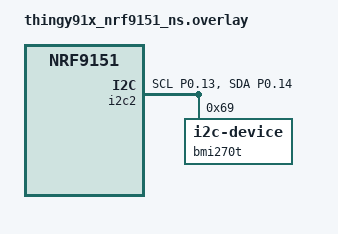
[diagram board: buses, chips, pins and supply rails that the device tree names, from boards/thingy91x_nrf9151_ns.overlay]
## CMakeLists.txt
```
#
# Copyright (c) 2016 Intel Corporation
#
# SPDX-License-Identifier: Apache-2.0
#

cmake_minimum_required(VERSION 3.20.0)
find_package(Zephyr REQUIRED HINTS $ENV{ZEPHYR_BASE})
project(nrf_connect_sdk_fundamentals)

target_sources(app PRIVATE src/main.c src/bmi2.c src/bmi270.c src/bmi270_context.c src/common.c)
```

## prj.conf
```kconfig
#
# Copyright (c) 2016 Intel Corporation
#
# SPDX-License-Identifier: Apache-2.0
#

CONFIG_I2C=y
CONFIG_CBPRINTF_FP_SUPPORT=y
```

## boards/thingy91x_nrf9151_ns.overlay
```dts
&i2c2 {
    status = "okay";
    pinctrl-0 = <&i2c2_default>;
	pinctrl-1 = <&i2c2_sleep>;
    pinctrl-names = "default", "sleep";
    bmi270t: bmi270t@69{
        compatible = "i2c-device";
        status = "okay";
        reg = < 0x69 >;
    };
};

&pinctrl {
	/omit-if-no-ref/ i2c2_default: i2c2_default {
		group1  {
			psels = <NRF_PSEL(TWIM_SCL, 0, 13)>,
					<NRF_PSEL(TWIM_SDA, 0, 14)>;
		};
	};

	/omit-if-no-ref/ i2c2_sleep: i2c2_sleep {
		group1  {
			psels = <NRF_PSEL(TWIM_SCL, 0, 13)>,
					<NRF_PSEL(TWIM_SDA, 0, 14)>;
			low-power-enable;
		};
	};
};
```

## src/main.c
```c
/**\
 * Copyright (c) 2023 Bosch Sensortec GmbH. All rights reserved.
 *
 * SPDX-License-Identifier: BSD-3-Clause
 **/

/******************************************************************************/
/*!                 Header Files                                              */
#include <stdio.h>
#include "bmi270.h"
#include "common.h"

/******************************************************************************/
/*!         Static function declaration                                       */

/*!
 *  @brief This internal API is used to set configurations for step counter.
 *
 *  @param[in] bmi2_dev       : Structure instance of bmi2_dev.
 *
 *  @return Status of execution.
 */
static int8_t set_feature_config(struct bmi2_dev *bmi2_dev);

/******************************************************************************/
/*!            Functions                                        */

/* This function starts the execution of program. */
int main(void)
{
	/* Sensor initialization configuration. */
	struct bmi2_dev bmi2_dev;

	/* Structure to define type of sensor and their respective data. */
	struct bmi2_feat_sensor_data sensor_data = {0};

	/* Status of api are returned to this variable. */
	int8_t rslt;

	/* Accel sensor and step counter feature are listed in array. */
	uint8_t sensor_sel[2] = {BMI2_ACCEL, BMI2_STEP_COUNTER};

	/* Variable to get step counter interrupt status. */
	uint16_t int_status = 0;

	/* Select features and their pins to be mapped to. */
	struct bmi2_sens_int_config sens_int = {.type = BMI2_STEP_COUNTER, .hw_int_pin = BMI2_INT2};

	/* Type of sensor to get step counter data. */
	sensor_data.type = BMI2_STEP_COUNTER;

	/* Interface reference is given as a parameter
	 * For I2C : BMI2_I2C_INTF
	 * For SPI : BMI2_SPI_INTF
	 */
	bmi2_interface_init(&bmi2_dev, BMI2_I2C_INTF);

	/* Initialize bmi270. */
	rslt = bmi270_init(&bmi2_dev);
	bmi2_error_codes_print_result(rslt);
	printf("ERROR!\n");
	if (rslt == BMI2_OK)
	{
		/* Enable the selected sensor. */
		rslt = bmi270_sensor_enable(sensor_sel, 2, &bmi2_dev);
		bmi2_error_codes_print_result(rslt);

		if (rslt == BMI2_OK)
		{
			/* Set the feature configuration for step counter. */
			rslt = set_feature_config(&bmi2_dev);
			bmi2_error_codes_print_result(rslt);

			printf("Step counter watermark level set to 1 (20 steps)\n");

			if (rslt == BMI2_OK)
			{
				/* Map the step counter feature interrupt. */
				rslt = bmi270_map_feat_int(&sens_int, 1, &bmi2_dev);
				bmi2_error_codes_print_result(rslt);

				/* Move the board in steps for 20 times to get step counter interrupt. */
				printf("Move the board in steps\n");

				/* Loop to get number of steps counted. */
				do
				{
					/* To get the interrupt status of the step counter. */
					rslt = bmi2_get_int_status(&int_status, &bmi2_dev);
					bmi2_error_codes_print_result(rslt);

					/* To check the interrupt status of the step counter. */
					if (int_status & BMI270_STEP_CNT_STATUS_MASK)
					{
						printf("Step counter interrupt occurred when watermark level (20 steps) is reached\n");

						/* Get step counter output. */
						rslt = bmi270_get_feature_data(&sensor_data, 1, &bmi2_dev);
						bmi2_error_codes_print_result(rslt);

						/* Print the step counter output. */
						printf("No of steps counted  = %lu",
							   (long unsigned int)sensor_data.sens_data.step_counter_output);

						break;
					}
				} while (rslt == BMI2_OK);
			}
		}
	}

	return rslt;
}

/*!
 * @brief This internal API is used to set configurations for step counter.
 */
static int8_t set_feature_config(struct bmi2_dev *bmi2_dev)
{
	/* Status of api are returned to this variable. */
	int8_t rslt;

	/* Structure to define the type of sensor and its configurations. */
	struct bmi2_sens_config config;

	/* Configure the type of sensor. */
	config.type = BMI2_STEP_COUNTER;

	/* Get default configurations for the type of feature selected. */
	rslt = bmi270_get_sensor_config(&config, 1, bmi2_dev);
	bmi2_error_codes_print_result(rslt);

	if (rslt == BMI2_OK)
	{
		/* Setting water-mark level to 1 for step counter to get interrupt after 20 step counts. Every 20 steps once
		 * output triggers. */
		config.cfg.step_counter.watermark_level = 1;

		/* Set new configuration. */
		rslt = bmi270_set_sensor_config(&config, 1, bmi2_dev);
		bmi2_error_codes_print_result(rslt);
	}

	return rslt;
}
```

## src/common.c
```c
/*---------------------------------------------*/
#include <math.h>
#include <stdio.h>
#include <zephyr/drivers/i2c.h>

#include "common.h"
#include "bmi270.h"
#include "bmi2_defs.h"


#define I2C_NODE DT_NODELABEL(bmi270t)

static uint8_t dev_addr;


static void bmi3_delay_us(uint32_t period, void *intf_ptr)
{
	(void)intf_ptr;
	k_sleep(K_MSEC(10));
}

/* nrf i2c initial */
static const struct i2c_dt_spec dev_i2c = I2C_DT_SPEC_GET(I2C_NODE);

static int8_t nrf_i2c_init(void)
{
	if (!device_is_ready(dev_i2c.bus)) {
        printk("I2C bus %s is not ready!\n\r",dev_i2c.bus->name);
        return -1;
    }
	/* I2C is used by default */
	return 0;
}
static int8_t nrf_i2c_read_cmd(uint8_t reg_addr, uint8_t *rev_data, uint32_t length, void *intf_ptr)
{
	return i2c_burst_read_dt(&dev_i2c, reg_addr, rev_data, length);
}
static int8_t nrf_i2c_write_cmd(uint8_t reg_addr, uint8_t const *send_data, uint32_t length, void *intf_ptr)
{
	return i2c_burst_write_dt(&dev_i2c, reg_addr, send_data, length);
}


void bmi2_interface_init(struct bmi2_dev *dev, int8_t intf)
{
	int8_t rslt = BMI2_OK; /* Status of API are returned to this variable. */

	if (dev != NULL)
	{
		if (intf == BMI2_I2C_INTF) /* Bus configuration : I2C */
		{
			nrf_i2c_init();
			printf("I2C Interface\n");
			dev_addr = BMI2_I2C_PRIM_ADDR;
			dev->read = nrf_i2c_read_cmd;
			dev->write = nrf_i2c_write_cmd;
			dev->intf = BMI2_I2C_INTF;
		}
		else if (intf == BMI2_SPI_INTF) /* Bus configuration : SPI */
		{
			// TODO...
			printf("SPI Interface initial.\n");
		}
		dev->delay_us = bmi3_delay_us;		  /* Configure delay in microseconds */
		dev->intf_ptr = &dev_addr;			  /* Assign device address to interface pointer */
		dev->read_write_len = READ_WRITE_LEN; /* Configure max read/write length (in bytes) ( Supported length depends on target machine) */
	}
	else
	{
		rslt = BMI2_E_NULL_PTR;
	}
	bmi2_error_codes_print_result(rslt);

	k_sleep(K_MSEC(200)); /* After sensor init introduce 200 msec sleep */
}



void bmi2_error_codes_print_result(int8_t rslt)
{
	switch (rslt)
    {
        case BMI2_OK:

            /* Do nothing */
            break;

        case BMI2_W_FIFO_EMPTY:
            printf("Warning [%d] : FIFO empty\r\n", rslt);
            break;
        case BMI2_W_PARTIAL_READ:
            printf("Warning [%d] : FIFO partial read\r\n", rslt);
            break;
        case BMI2_E_NULL_PTR:
            printf(
                "Error [%d] : Null pointer error. It occurs when the user tries to assign value (not address) to a pointer," " which has been initialized to NULL.\r\n",
                rslt);
            break;

        case BMI2_E_COM_FAIL:
            printf(
                "Error [%d] : Communication failure error. It occurs due to read/write operation failure and also due " "to power failure during communication\r\n",
                rslt);
            break;

        case BMI2_E_DEV_NOT_FOUND:
            printf("Error [%d] : Device not found error. It occurs when the device chip id is incorrectly read\r\n",
                   rslt);
            break;

        case BMI2_E_INVALID_SENSOR:
            printf(
                "Error [%d] : Invalid sensor error. It occurs when there is a mismatch in the requested feature with the " "available one\r\n",
                rslt);
            break;

        case BMI2_E_SELF_TEST_FAIL:
            printf(
                "Error [%d] : Self-test failed error. It occurs when the validation of accel self-test data is " "not satisfied\r\n",
                rslt);
            break;

        case BMI2_E_INVALID_INT_PIN:
            printf(
                "Error [%d] : Invalid interrupt pin error. It occurs when the user tries to configure interrupt pins " "apart from INT1 and INT2\r\n",
                rslt);
            break;

        case BMI2_E_OUT_OF_RANGE:
            printf(
                "Error [%d] : Out of range error. It occurs when the data exceeds from filtered or unfiltered data from " "fifo and also when the range exceeds the maximum range for accel and gyro while performing FOC\r\n",
                rslt);
            break;

        case BMI2_E_ACC_INVALID_CFG:
            printf(
                "Error [%d] : Invalid Accel configuration error. It occurs when there is an error in accel configuration" " register which could be one among range, BW or filter performance in reg address 0x40\r\n",
                rslt);
            break;

        case BMI2_E_GYRO_INVALID_CFG:
            printf(
                "Error [%d] : Invalid Gyro configuration error. It occurs when there is a error in gyro configuration" "register which could be one among range, BW or filter performance in reg address 0x42\r\n",
                rslt);
            break;

        case BMI2_E_ACC_GYR_INVALID_CFG:
            printf(
                "Error [%d] : Invalid Accel-Gyro configuration error. It occurs when there is a error in accel and gyro" " configuration registers which could be one among range, BW or filter performance in reg address 0x40 " "and 0x42\r\n",
                rslt);
            break;

        case BMI2_E_CONFIG_LOAD:
            printf(
                "Error [%d] : Configuration load error. It occurs when failure observed while loading the configuration " "into the sensor\r\n",
                rslt);
            break;

        case BMI2_E_INVALID_PAGE:
            printf(
                "Error [%d] : Invalid page error. It occurs due to failure in writing the correct feature configuration " "from selected page\r\n",
                rslt);
            break;

        case BMI2_E_SET_APS_FAIL:
            printf(
                "Error [%d] : APS failure error. It occurs due to failure in write of advance power mode configuration " "register\r\n",
                rslt);
            break;

        case BMI2_E_AUX_INVALID_CFG:
            printf(
                "Error [%d] : Invalid AUX configuration error. It occurs when the auxiliary interface settings are not " "enabled properly\r\n",
                rslt);
            break;

        case BMI2_E_AUX_BUSY:
            printf(
                "Error [%d] : AUX busy error. It occurs when the auxiliary interface buses are engaged while configuring" " the AUX\r\n",
                rslt);
            break;

        case BMI2_E_REMAP_ERROR:
            printf(
                "Error [%d] : Remap error. It occurs due to failure in assigning the remap axes data for all the axes " "after change in axis position\r\n",
                rslt);
            break;

        case BMI2_E_GYR_USER_GAIN_UPD_FAIL:
            printf(
                "Error [%d] : Gyro user gain update fail error. It occurs when the reading of user gain update status " "fails\r\n",
                rslt);
            break;

        case BMI2_E_SELF_TEST_NOT_DONE:
            printf(
                "Error [%d] : Self-test not done error. It occurs when the self-test process is ongoing or not " "completed\r\n",
                rslt);
            break;

        case BMI2_E_INVALID_INPUT:
            printf("Error [%d] : Invalid input error. It occurs when the sensor input validity fails\r\n", rslt);
            break;

        case BMI2_E_INVALID_STATUS:
            printf("Error [%d] : Invalid status error. It occurs when the feature/sensor validity fails\r\n", rslt);
            break;

        case BMI2_E_CRT_ERROR:
            printf("Error [%d] : CRT error. It occurs when the CRT test has failed\r\n", rslt);
            break;

        case BMI2_E_ST_ALREADY_RUNNING:
            printf(
                "Error [%d] : Self-test already running error. It occurs when the self-test is already running and " "another has been initiated\r\n",
                rslt);
            break;

        case BMI2_E_CRT_READY_FOR_DL_FAIL_ABORT:
            printf(
                "Error [%d] : CRT ready for download fail abort error. It occurs when download in CRT fails due to wrong " "address location\r\n",
                rslt);
            break;

        case BMI2_E_DL_ERROR:
            printf(
                "Error [%d] : Download error. It occurs when write length exceeds that of the maximum burst length\r\n",
                rslt);
            break;

        case BMI2_E_PRECON_ERROR:
            printf(
                "Error [%d] : Pre-conditional error. It occurs when precondition to start the feature was not " "completed\r\n",
                rslt);
            break;

        case BMI2_E_ABORT_ERROR:
            printf("Error [%d] : Abort error. It occurs when the device was shaken during CRT test\r\n", rslt);
            break;

        case BMI2_E_WRITE_CYCLE_ONGOING:
            printf(
                "Error [%d] : Write cycle ongoing error. It occurs when the write cycle is already running and another " "has been initiated\r\n",
                rslt);
            break;

        case BMI2_E_ST_NOT_RUNING:
            printf(
                "Error [%d] : Self-test is not running error. It occurs when self-test running is disabled while it's " "running\r\n",
                rslt);
            break;

        case BMI2_E_DATA_RDY_INT_FAILED:
            printf(
                "Error [%d] : Data ready interrupt error. It occurs when the sample count exceeds the FOC sample limit " "and data ready status is not updated\r\n",
                rslt);
            break;

        case BMI2_E_INVALID_FOC_POSITION:
            printf(
                "Error [%d] : Invalid FOC position error. It occurs when average FOC data is obtained for the wrong" " axes\r\n",
                rslt);
            break;

        default:
            printf("Error [%d] : Unknown error code\r\n", rslt);
            break;
    }
}
```

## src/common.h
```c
/*---------------------------------------------*/
#ifndef RTROBOT_BMI323_H
#define RTROBOT_BMI323_H

#include "bmi2_defs.h"
#include <zephyr/kernel.h>

#define READ_WRITE_LEN UINT8_C(8)

void bmi2_interface_init(struct bmi2_dev* dev, int8_t intf);
void bmi2_error_codes_print_result(int8_t rslt);


#endif //RTROBOT_BMI323_H
```
